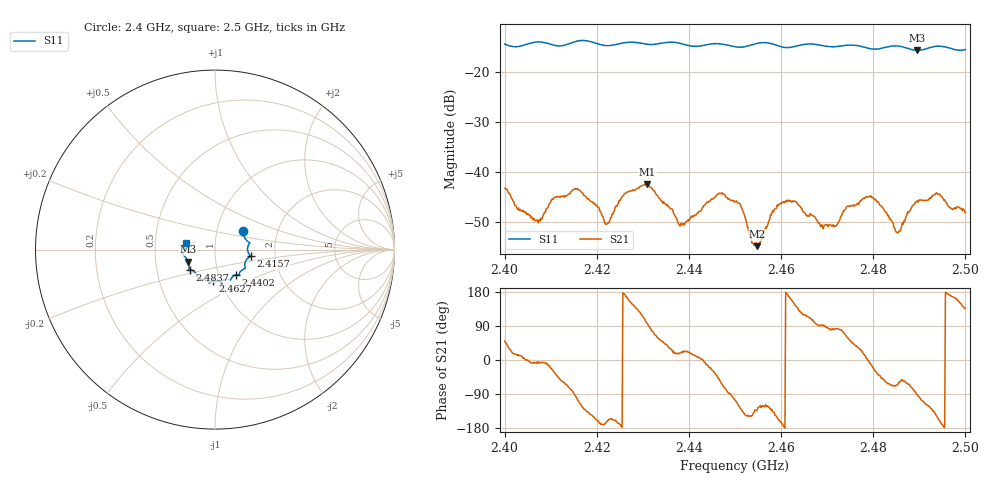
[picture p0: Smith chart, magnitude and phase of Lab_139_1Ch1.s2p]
# Hz S RI R 50
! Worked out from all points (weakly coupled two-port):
!   601 points, 2.4 GHz to 2.5 GHz, reference 50 ohm
!   highest |S21| = -42.39 dB at 2.431 GHz (marker M1); lowest = -54.7 dB at 2.4548 GHz (marker M2)
!   lowest |S11| = -15.7 dB at 2.4895 GHz (marker M3), VSWR 1.39, Z = 36.8 - j5.15 ohm
!   |S11| at or under -10 dB: start of sweep to end of sweep
!   S12 and S22 are empty: the file has one direction only
!   S11 on the Smith chart (normalised r, x): 2.4 GHz: 1.33, +0.29; 2.4157 GHz: 1.49, -0.11; 2.4402 GHz: 1.20, -0.35; 2.4627 GHz: 0.92, -0.34; 2.4837 GHz: 0.74, -0.17; 2.5 GHz: 0.72, +0.05
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2.4e9  0.1563 0.1055  0.00445 0.00526  0 0  0 0
2.407167e9  0.1947 0.0386  0.00331 -0.000262  0 0  0 0
2.415667e9  0.1984 -0.0363  -0.00122 -0.00669  0 0  0 0
2.416667e9  0.2012 -0.0397  -0.00312 -0.00547  0 0  0 0
2.422167e9  0.1702 -0.0652  -0.00288 -0.000905  0 0  0 0
2.426e9  0.1683 -0.0984  -0.00608 0.000671  0 0  0 0
2.431e9  0.1472 -0.117  -0.000709 0.00756  0 0  0 0
2.433333e9  0.1357 -0.1334  0.00299 0.00482  0 0  0 0
2.440167e9  0.1145 -0.1407  0.0032 0.00114  0 0  0 0
2.446667e9  0.0841 -0.1706  0.00372 -0.00496  0 0  0 0
2.45e9  0.0639 -0.1658  -0.00136 -0.00486  0 0  0 0
2.454833e9  0.0374 -0.1882  -0.0012 -0.00139  0 0  0 0
2.458667e9  0.0319 -0.1834  -0.00354 -0.00245  0 0  0 0
2.462667e9  -0.0116 -0.177  -0.00449 0.00241  0 0  0 0
2.466667e9  -0.033 -0.1865  -0.00101 0.00361  0 0  0 0
2.471667e9  -0.0645 -0.1656  0.000393 0.00286  0 0  0 0
2.479e9  -0.1047 -0.1355  0.00569 -0.000208  0 0  0 0
2.483333e9  -0.1385 -0.1122  0.00174 -0.00327  0 0  0 0
2.483667e9  -0.1405 -0.1118  0.00144 -0.00314  0 0  0 0
2.4855e9  -0.1449 -0.1072  0.00131 -0.00217  0 0  0 0
2.4895e9  -0.1483 -0.0681  -0.000146 -0.00517  0 0  0 0
2.5e9  -0.1626 0.0362  -0.00283 0.00273  0 0  0 0
